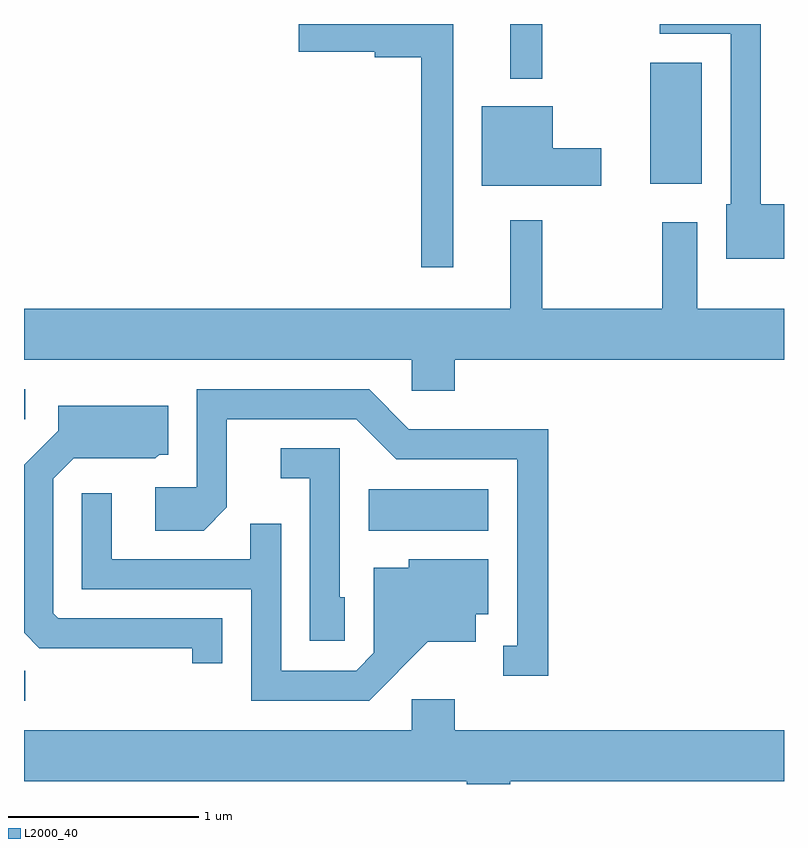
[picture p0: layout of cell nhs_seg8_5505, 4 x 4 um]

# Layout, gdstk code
import gdstk
lib = gdstk.Library(unit=1e-6, precision=1e-09)
def R(c, l, rs):  # rectangles x0, y0, x1, y1
    for r in rs: c.add(gdstk.rectangle(r[:2], r[2:], *l))
def P(c, l, *ps):  # polygons
    for p in ps: c.add(gdstk.Polygon(p, *l))
L2000_40 = (2000, 40)

nhs_seg8_5505 = lib.new_cell('nhs_seg8_5505')
R(nhs_seg8_5505, L2000_40, [(349.611,1896.781,349.618,1896.939), (351.426,1897.676,352.054,1897.894), (349.611,1898.261,349.618,1898.419), (352.906,1899.501,353.179,1900.139), (352.171,1900.053,352.339,1900.342)])
P(nhs_seg8_5505, L2000_40, [(351.869,1900.342),(351.056,1900.342),(351.056,1900.196),(351.456,1900.196),(351.456,1900.166),(351.701,1900.166),(351.701,1899.063),(351.869,1899.063)],
  [(353.611,1899.394),(353.489,1899.394),(353.489,1900.342),(352.958,1900.342),(352.958,1900.291),(353.331,1900.291),(353.331,1899.394),(353.306,1899.394),(353.306,1899.106),(353.611,1899.106)],
  [(352.649,1899.689),(352.394,1899.689),(352.394,1899.909),(352.021,1899.909),(352.021,1899.491),(352.649,1899.491)],
  [(351.879,1898.576),(353.611,1898.576),(353.611,1898.844),(353.154,1898.844),(353.154,1899.299),(352.971,1899.299),(352.971,1898.844),(352.339,1898.844),(352.339,1899.308),(352.171,1899.308),(352.171,1898.844),(349.611,1898.844),(349.611,1898.576),(351.651,1898.576),(351.651,1898.411),(351.879,1898.411)],
  [(352.369,1898.209),(351.637,1898.209),(351.427,1898.419),(350.521,1898.419),(350.521,1897.904),(350.301,1897.904),(350.301,1897.676),(350.557,1897.676),(350.679,1897.799),(350.679,1898.261),(351.359,1898.261),(351.569,1898.051),(352.206,1898.051),(352.206,1897.069),(352.133,1897.069),(352.133,1896.911),(352.369,1896.911)],
  [(350.654,1897.214),(349.792,1897.214),(349.764,1897.242),(349.764,1897.949),(349.872,1898.056),(350.302,1898.056),(350.322,1898.076),(350.369,1898.076),(350.369,1898.334),(349.791,1898.334),(349.791,1898.202),(349.611,1898.022),(349.611,1897.137),(349.692,1897.056),(350.496,1897.056),(350.496,1896.978),(350.654,1896.978)],
  [(351.299,1897.324),(351.274,1897.324),(351.274,1898.109),(350.963,1898.109),(350.963,1897.951),(351.116,1897.951),(351.116,1897.096),(351.299,1897.096)],
  [(351.737,1897.091),(351.989,1897.091),(351.989,1897.236),(352.054,1897.236),(352.054,1897.524),(351.636,1897.524),(351.636,1897.479),(351.451,1897.479),(351.451,1897.032),(351.359,1896.939),(350.964,1896.939),(350.964,1897.713),(350.801,1897.713),(350.801,1897.524),(350.074,1897.524),(350.074,1897.873),(349.916,1897.873),(349.916,1897.366),(350.806,1897.366),(350.806,1896.781),(351.427,1896.781)],
  [(352.169,1896.356),(353.611,1896.356),(353.611,1896.624),(351.879,1896.624),(351.879,1896.789),(351.651,1896.789),(351.651,1896.624),(349.611,1896.624),(349.611,1896.356),(351.941,1896.356),(351.941,1896.342),(352.169,1896.342)])

lib.write_gds('nhs_seg8_5505.gds')
